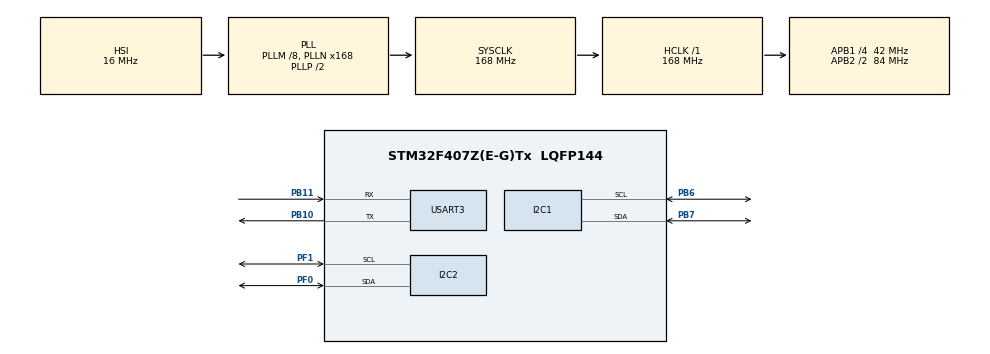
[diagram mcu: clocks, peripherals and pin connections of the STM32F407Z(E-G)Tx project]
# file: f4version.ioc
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I2C1.I2C_Mode=I2C_Standard
I2C2.I2C_Mode=I2C_Fast
Mcu.Family=STM32F4
Mcu.Name=STM32F407Z(E-G)Tx
Mcu.Package=LQFP144
NVIC.PriorityGroup=NVIC_PRIORITYGROUP_4
NVIC.TIM2_IRQn=true\:0\:0\:false\:false\:true\:true\:true\:true
NVIC.TIM3_IRQn=true\:0\:0\:false\:false\:true\:true\:true\:true
PA13.Mode=Serial_Wire
PA13.Signal=SYS_JTMS-SWDIO
PA14.Mode=Serial_Wire
PA14.Signal=SYS_JTCK-SWCLK
PB10.Mode=Asynchronous
PB10.Signal=USART3_TX
PB11.Mode=Asynchronous
PB11.Signal=USART3_RX
PB6.Mode=I2C
PB6.Signal=I2C1_SCL
PB7.Mode=I2C
PB7.Signal=I2C1_SDA
PF0.Mode=I2C
PF0.Signal=I2C2_SDA
PF1.Mode=I2C
PF1.Signal=I2C2_SCL
PH0-OSC_IN.Mode=HSE-External-Clock-Source
PH0-OSC_IN.Signal=RCC_OSC_IN
PH1-OSC_OUT.Mode=HSE-External-Clock-Source
PH1-OSC_OUT.Signal=RCC_OSC_OUT
ProjectManager.HeapSize=0x200
ProjectManager.StackSize=0x400
ProjectManager.TargetToolchain=CMake
RCC.48MHZClocksFreq_Value=84000000
RCC.AHBFreq_Value=168000000
RCC.APB1CLKDivider=RCC_HCLK_DIV4
RCC.APB1Freq_Value=42000000
RCC.APB1TimFreq_Value=84000000
RCC.APB2CLKDivider=RCC_HCLK_DIV2
RCC.APB2Freq_Value=84000000
RCC.APB2TimFreq_Value=168000000
RCC.CortexFreq_Value=168000000
RCC.HCLKFreq_Value=168000000
RCC.HSE_VALUE=25000000
RCC.HSI_VALUE=16000000
RCC.LSE_VALUE=32768
RCC.PLLM=8
RCC.PLLN=168
RCC.SYSCLKFreq_VALUE=168000000
RCC.SYSCLKSource=RCC_SYSCLKSOURCE_PLLCLK
RCC.VCOOutputFreq_Value=336000000
TIM1.Prescaler=71
TIM2.Period=999
TIM2.Prescaler=8399
TIM3.AutoReloadPreload=TIM_AUTORELOAD_PRELOAD_DISABLE
TIM3.Period=9999
TIM3.Prescaler=8399
USART3.VirtualMode=VM_ASYNC
USART3.WordLength=WORDLENGTH_8B
VP_TIM1_VS_ClockSourceINT.Mode=Internal
VP_TIM2_VS_ClockSourceINT.Mode=Internal
VP_TIM3_VS_ClockSourceINT.Mode=Internal
board=custom

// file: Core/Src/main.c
/* USER CODE BEGIN Header */
/**
  ******************************************************************************
  * @file           : main.c
  * @brief          : Main program body
  ******************************************************************************
  * @attention
  *
  * Copyright (c) 2025 STMicroelectronics.
  * All rights reserved.
  *
  * This software is licensed under terms that can be found in the LICENSE file
  * in the root directory of this software component.
  * If no LICENSE file comes with this software, it is provided AS-IS.
  *
  ******************************************************************************
  */
/* USER CODE END Header */
#include "main.h"
#include "i2c.h"
#include "tim.h"
#include "usart.h"
#include "gpio.h"

/* USER CODE BEGIN Includes */
#include "MPU6050.h"
#include "u8g2.h"
#include "stm32_u8g2.h"
#include "Snake.h"
#include "menu.h"
#include "string.h"

/* USER CODE END Includes */

/* USER CODE BEGIN PV */
Snake mySnake;
map myMap;
int desktop=0;
int z=0,s=0,_TEMP=0,w=0,difficult=0,_CLEAR=1,t=0,q=0,normal=0,prop_use=0;

int mode =0,time=0;
u8g2_t u8g2;
Snake RobotSnake;
int Robot_point =0;
int My_point=0;
/* USER CODE END PV */

void SystemClock_Config(void);

/* USER CODE BEGIN 0 */
int f;
/* USER CODE END 0 */

int main(void)
{

  /* USER CODE BEGIN 1 */

    //Desktop1_direction=126;

  /* USER CODE END 1 */

  /* MCU Configuration--------------------------------------------------------*/

  /* Reset of all peripherals, Initializes the Flash interface and the Systick. */
  HAL_Init();

  /* Configure the system clock */
  SystemClock_Config();

  /* Initialize all configured peripherals */
  MX_GPIO_Init();
  MX_I2C1_Init();
  MX_I2C2_Init();
  MX_TIM1_Init();
  MX_TIM2_Init();
  MX_USART3_UART_Init();
  MX_TIM3_Init();
  /* USER CODE BEGIN 2 */

      MPU6050_Init();

    HAL_TIM_Base_Start_IT(&htim2);
    HAL_TIM_Base_Start_IT(&htim3);

    u8g2Init(&u8g2);
    OPENUI(&u8g2);
    Robot_Snake_Init(&RobotSnake);
    My_Snake_Init(&mySnake);
    Map_Init(&myMap);
  /* USER CODE END 2 */

  /* Infinite loop */
  /* USER CODE BEGIN WHILE */
  while (1)
  {

      EatFood(&myMap, &RobotSnake,&My_point);
      EatFood(&myMap,&mySnake,&My_point);

      if(mySnake.GameOver) {
          u8g2_SetFont(&u8g2,u8g2_font_ncenB08_te);
          u8g2_ClearBuffer(&u8g2);
          u8g2_DrawStr(&u8g2,32, 24, "GameOver");
          u8g2_SendBuffer(&u8g2);
      }

      if(w>=32){
          w=32;
      }
      if(w<=0)
      {
          w=0;
      }
    if(roll>10&&desktop!=4)
    {
     mode = 1;

    }
    if(roll>-10&&roll<10)
    {
        mode =0;
    }
if(roll<-10)
    {
         mode = 2;
    }
      if(pitch<-30)
      { if((Desktop1_direction==42||Desktop1_direction==-84)&&desktop!=4)
          {
              desktop = 1;
          }
          if(Desktop1_direction==84||Desktop1_direction==-42)
          {
              _TEMP=1;
              if(_CLEAR==1)
              {
                  u8g2_ClearBuffer(&u8g2);
                  _CLEAR=0;
                  normal=1;
              }
              desktop=4;
          }
          if(Desktop1_direction==0||Desktop1_direction==126)
          {
              _TEMP=1;
              if(_CLEAR==1)
              {
                  u8g2_ClearBuffer(&u8g2);
                  _CLEAR=0;
difficult=1;
              }
              desktop=4;
          }
      }
      if(pitch>30&&desktop!=4)
      {
          desktop=0;
      }

      switch(desktop)
      {
          case 0:
              Desktop1();
              break;
          case 1:
              Desktop2_SET(w);
              break;
          case 2:
              _TEMP=1;
   break;
          case 3:;
              break;
      }

//      Random_Food(&myMap,&mySnake);
//      MPU6050_Read_Result();
//      Control_Dirction(&mySnake,roll,pitch);
      u8g2_SetFont(&u8g2, u8g2_font_ncenB08_te);

//if(z==2) {
//    u8g2_DrawFrame(&u8g2, 0, 0, 128, 64);
//    u8g2_SendBuffer(&u8g2);
//}

      if(_TEMP==1&&normal==1)
      {
          Random_Foodandprop(&myMap,&mySnake);
          PrintVarFormat(&u8g2,88,13,u8g2_font_8x13B_tr, time);
          PrintVarFormat(&u8g2,120,13,u8g2_font_8x13B_tr, My_point);
      }
      if(_TEMP==1&&difficult==1)
      {     Random_Food(&myMap,&RobotSnake);
          Random_Food(&myMap,&mySnake);
          PrintVarFormat(&u8g2,88,13,u8g2_font_8x13B_tr, time);
          PrintVarFormat(&u8g2,120,13,u8g2_font_8x13B_tr, My_point);
      }

    /* USER CODE END WHILE */

  }
}

void SystemClock_Config(void)
{
  RCC_OscInitTypeDef RCC_OscInitStruct = {0};
  RCC_ClkInitTypeDef RCC_ClkInitStruct = {0};

  /** Configure the main internal regulator output voltage
  */
  __HAL_RCC_PWR_CLK_ENABLE();
  __HAL_PWR_VOLTAGESCALING_CONFIG(PWR_REGULATOR_VOLTAGE_SCALE1);

  /** Initializes the RCC Oscillators according to the specified parameters
  * in the RCC_OscInitTypeDef structure.
  */
  RCC_OscInitStruct.OscillatorType = RCC_OSCILLATORTYPE_HSI;
  RCC_OscInitStruct.HSIState = RCC_HSI_ON;
  RCC_OscInitStruct.HSICalibrationValue = RCC_HSICALIBRATION_DEFAULT;
  RCC_OscInitStruct.PLL.PLLState = RCC_PLL_ON;
  RCC_OscInitStruct.PLL.PLLSource = RCC_PLLSOURCE_HSI;
  RCC_OscInitStruct.PLL.PLLM = 8;
  RCC_OscInitStruct.PLL.PLLN = 168;
  RCC_OscInitStruct.PLL.PLLP = RCC_PLLP_DIV2;
  RCC_OscInitStruct.PLL.PLLQ = 4;
  if (HAL_RCC_OscConfig(&RCC_OscInitStruct) != HAL_OK)
  {
    Error_Handler();
  }

  /** Initializes the CPU, AHB and APB buses clocks
  */
  RCC_ClkInitStruct.ClockType = RCC_CLOCKTYPE_HCLK|RCC_CLOCKTYPE_SYSCLK
                              |RCC_CLOCKTYPE_PCLK1|RCC_CLOCKTYPE_PCLK2;
  RCC_ClkInitStruct.SYSCLKSource = RCC_SYSCLKSOURCE_PLLCLK;
  RCC_ClkInitStruct.AHBCLKDivider = RCC_SYSCLK_DIV1;
  RCC_ClkInitStruct.APB1CLKDivider = RCC_HCLK_DIV4;
  RCC_ClkInitStruct.APB2CLKDivider = RCC_HCLK_DIV2;

  if (HAL_RCC_ClockConfig(&RCC_ClkInitStruct, FLASH_LATENCY_5) != HAL_OK)
  {
    Error_Handler();
  }
}

/* USER CODE BEGIN 4 */
void HAL_TIM_PeriodElapsedCallback(TIM_HandleTypeDef *htim) {
    if (htim->Instance == TIM2) {
        f++;
        z++;
if (prop_use==1) {
    s+=(int)yaw;
    t+=(int)yaw;

    prop_use=0;
}

        if (f > 30) {
            MPU6050_Read_Result();
        }
        if (_TEMP == 1) {
            s+=4;
            if(difficult==1) {
                if(s==16)
                {
                    Auto_Control_Dirction(&RobotSnake,&myMap);
                    RobotRemove(&RobotSnake);
                    MyRemove(&mySnake);
                    Control_Dirction(&mySnake);
                    s=0;

                }

            }

            if(normal==1) {
                switch (w / 16) {
                    case 0:
                        if (mySnake.IsSlowDown==1) {
                            s+=yaw/4;
                        }
                        if (s >= 24) {
                            MyRemove(&mySnake);
                            s = 0;

                            Control_Dirction(&mySnake);
                        }
                        break;
                    case 1:
                        if (s == 16) {
                            MyRemove(&mySnake);
                            s = 0;
                            Control_Dirction(&mySnake);
                        }
                        break;
                    case 2:
                        if (s == 8) {
                            MyRemove(&mySnake);
                            s = 0;
                            Control_Dirction(&mySnake);
                        }

                        break;
                }
            }

        }

        if (z == 5) {
            switch (mode) {
                case 1:
                    if (desktop == 0) { Desktop1_direction += 42; }
                    if (desktop == 1) { w -= 16; }
                    break;
                case 2:
                    if (desktop == 0) { Desktop1_direction -= 42; }
                    if (desktop == 1) { w += 16; }
                    break;
            }
////          Remove(&mySnake);

            z = 0;
        }
    }

    if (htim->Instance == TIM3){
if (_TEMP==1)
        {
            time+=1;
        }

    }
}

/* USER CODE END 4 */

void Error_Handler(void)
{
  __disable_irq();
  while (1)
  {
  }
}
